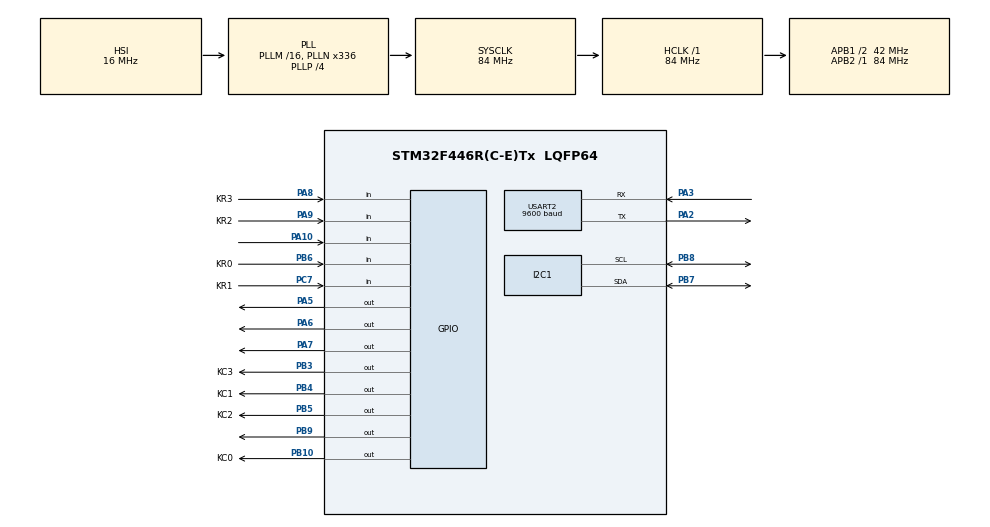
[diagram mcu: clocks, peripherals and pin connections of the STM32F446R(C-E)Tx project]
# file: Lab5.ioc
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FREERTOS.Tasks01=defaultTask,24,128,StartDefaultTask,Default,NULL,Dynamic,NULL,NULL;ReadFromKeyPadT,8,128,ReadFromKeyPadTask,Default,NULL,Dynamic,NULL,NULL;writeToLCDScree,8,128,writeToLCDScreenTask,Default,NULL,Dynamic,NULL,NULL
I2C1.I2C_Mode=I2C_Fast
Mcu.Family=STM32F4
Mcu.Name=STM32F446R(C-E)Tx
Mcu.Package=LQFP64
NVIC.PriorityGroup=NVIC_PRIORITYGROUP_4
NVIC.TIM6_DAC_IRQn=true\:0\:0\:false\:false\:true\:false\:false\:true\:true
NVIC.TimeBase=TIM6_DAC_IRQn
NVIC.TimeBaseIP=TIM6
PA10.Signal=GPIO_Input
PA13.Mode=Serial_Wire
PA13.Signal=SYS_JTMS-SWDIO
PA14.Mode=Serial_Wire
PA14.Signal=SYS_JTCK-SWCLK
PA2.Mode=Asynchronous
PA2.Signal=USART2_TX
PA3.Mode=Asynchronous
PA3.Signal=USART2_RX
PA5.Signal=GPIO_Output
PA6.Signal=GPIO_Output
PA7.Signal=GPIO_Output
PA8.GPIO_Label=KR3
PA8.GPIO_PuPd=GPIO_PULLDOWN
PA8.Signal=GPIO_Input
PA9.GPIO_Label=KR2
PA9.GPIO_PuPd=GPIO_PULLDOWN
PA9.Signal=GPIO_Input
PB10.GPIO_Label=KC0
PB10.Signal=GPIO_Output
PB3.GPIO_Label=KC3
PB3.Signal=GPIO_Output
PB4.GPIO_Label=KC1
PB4.Signal=GPIO_Output
PB5.GPIO_Label=KC2
PB5.Signal=GPIO_Output
PB6.GPIO_Label=KR0
PB6.GPIO_PuPd=GPIO_PULLDOWN
PB6.Signal=GPIO_Input
PB7.Mode=I2C
PB7.Signal=I2C1_SDA
PB8.Mode=I2C
PB8.Signal=I2C1_SCL
PB9.Signal=GPIO_Output
PC14-OSC32_IN.Mode=LSE-External-Oscillator
PC14-OSC32_IN.Signal=RCC_OSC32_IN
PC15-OSC32_OUT.Mode=LSE-External-Oscillator
PC15-OSC32_OUT.Signal=RCC_OSC32_OUT
PC7.GPIO_Label=KR1
PC7.GPIO_PuPd=GPIO_PULLDOWN
PC7.Signal=GPIO_Input
PH0-OSC_IN.Mode=HSE-External-Oscillator
PH0-OSC_IN.Signal=RCC_OSC_IN
PH1-OSC_OUT.Mode=HSE-External-Oscillator
PH1-OSC_OUT.Signal=RCC_OSC_OUT
ProjectManager.HeapSize=0x200
ProjectManager.StackSize=0x400
ProjectManager.TargetToolchain=STM32CubeIDE
RCC.48MHZClocksFreq_Value=84000000
RCC.AHBFreq_Value=84000000
RCC.APB1CLKDivider=RCC_HCLK_DIV2
RCC.APB1Freq_Value=42000000
RCC.APB1TimFreq_Value=84000000
RCC.APB2Freq_Value=84000000
RCC.APB2TimFreq_Value=84000000
RCC.CortexFreq_Value=84000000
RCC.FLatency-AdvancedSettings=FLASH_LATENCY_2
RCC.HCLKFreq_Value=84000000
RCC.HSE_VALUE=8000000
RCC.HSI_VALUE=16000000
RCC.PLLN=336
RCC.PLLP=RCC_PLLP_DIV4
RCC.SYSCLKFreq_VALUE=84000000
RCC.SYSCLKSource=RCC_SYSCLKSOURCE_PLLCLK
RCC.USBFreq_Value=168000000
RCC.VCOOutputFreq_Value=336000000
USART2.BaudRate=9600
USART2.VirtualMode=VM_ASYNC
VP_FREERTOS_VS_CMSIS_V2.Mode=CMSIS_V2
VP_SYS_VS_tim6.Mode=TIM6
board=NUCLEO-F446RE

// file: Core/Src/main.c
/* USER CODE BEGIN Header */
/**
  ******************************************************************************
  * @file           : main.c
  * @brief          : Main program body
  ******************************************************************************
  * @attention
  *
  * Copyright (c) 2024 STMicroelectronics.
  * All rights reserved.
  *
  * This software is licensed under terms that can be found in the LICENSE file
  * in the root directory of this software component.
  * If no LICENSE file comes with this software, it is provided AS-IS.
  *
  ******************************************************************************
  */
/* USER CODE END Header */
#include "main.h"
#include "cmsis_os.h"

/* USER CODE BEGIN Includes */
#include "Keypad4X4.h"
#include <stdio.h>
#include <string.h>
#include <stdlib.h>
#include "fonts.h"
#include "ssd1306.h"

/* USER CODE END Includes */

I2C_HandleTypeDef hi2c1;

UART_HandleTypeDef huart2;

/* Definitions for LCDTask */
osThreadId_t LCDTaskHandle;
const osThreadAttr_t LCDTask_attributes = {
  .name = "LCDTask",
  .stack_size = 128 * 4,
  .priority = (osPriority_t) osPriorityNormal,
};
/* Definitions for KeypadTask */
osThreadId_t KeypadTaskHandle;
const osThreadAttr_t KeypadTask_attributes = {
  .name = "KeypadTask",
  .stack_size = 128 * 4,
  .priority = (osPriority_t) osPriorityLow,
};
/* Definitions for PIRTask */
osThreadId_t PIRTaskHandle;
const osThreadAttr_t PIRTask_attributes = {
  .name = "PIRTask",
  .stack_size = 128 * 4,
  .priority = (osPriority_t) osPriorityNormal,
};
/* Definitions for lightsTask */
osThreadId_t lightsTaskHandle;
const osThreadAttr_t lightsTask_attributes = {
  .name = "lightsTask",
  .stack_size = 128 * 4,
  .priority = (osPriority_t) osPriorityLow,
};
/* Definitions for OLEDSemaphore */
osSemaphoreId_t OLEDSemaphoreHandle;
const osSemaphoreAttr_t OLEDSemaphore_attributes = {
  .name = "OLEDSemaphore"
};
/* USER CODE BEGIN PV */
char hold[4];
/* USER CODE END PV */

void SystemClock_Config(void);
static void MX_GPIO_Init(void);
static void MX_USART2_UART_Init(void);
static void MX_I2C1_Init(void);
void StartLCDTask(void *argument);
void StartkeypadTask(void *argument);
void StartPIRTask(void *argument);
void StartlightsTask(void *argument);

/* USER CODE BEGIN 0 */
#define MAX_CODE_SIZE 6

extern char key;

char typedCode[MAX_CODE_SIZE]; //will be used to store current code being typed by user
int typedCodeIndex = 0;
char passcode[] = "000000"; //will be used to store the confirmed code

int alarmState = 0; //where 0 is disarmed, and 1 is armed

int LCDUpdateFlag = 1;
int LightsUpdateFlag = 1;
int sixtySecondsPassed = 0;
int alarmBuzzing = 0;
int counter = 60;
int isResetted = 0;
char snum[3];
int initialCoolDown = 1;
int motionDetected = 0;

void appendTypedCode(char c){
	if(typedCodeIndex < MAX_CODE_SIZE){
		typedCode[typedCodeIndex] = c;
		typedCodeIndex++;
	}else{
		//clearing typedCode variable
		memset(typedCode, 0, MAX_CODE_SIZE);
		typedCodeIndex = 0;
	}
}

/* USER CODE END 0 */

int main(void)
{

  /* MCU Configuration--------------------------------------------------------*/

  /* Reset of all peripherals, Initializes the Flash interface and the Systick. */
  HAL_Init();

  /* Configure the system clock */
  SystemClock_Config();

  /* Initialize all configured peripherals */
  MX_GPIO_Init();
  MX_USART2_UART_Init();
  MX_I2C1_Init();
  /* USER CODE BEGIN 2 */
  /* USER CODE BEGIN 2 */
    SSD1306_Init();
//    SSD1306_GotoXY (0,0);
//    //SSD1306_Puts ("Voltage:", &Font_11x18, 1);
//    SSD1306_Puts ("Enter Code:", &Font_11x18, 1);
//    SSD1306_GotoXY (0, 30);
//    SSD1306_UpdateScreen();
//    SSD1306_UpdateScreen();
//    HAL_Delay (500);

  /* USER CODE END 2 */

  /* Init scheduler */
  osKernelInitialize();

  /* Create the semaphores(s) */
  /* creation of OLEDSemaphore */
  OLEDSemaphoreHandle = osSemaphoreNew(1, 0, &OLEDSemaphore_attributes);

  /* Create the thread(s) */
  /* creation of LCDTask */
  LCDTaskHandle = osThreadNew(StartLCDTask, NULL, &LCDTask_attributes);

  /* creation of KeypadTask */
  KeypadTaskHandle = osThreadNew(StartkeypadTask, NULL, &KeypadTask_attributes);

  /* creation of PIRTask */
  PIRTaskHandle = osThreadNew(StartPIRTask, NULL, &PIRTask_attributes);

  /* creation of lightsTask */
  lightsTaskHandle = osThreadNew(StartlightsTask, NULL, &lightsTask_attributes);

  /* Start scheduler */
  osKernelStart();

  /* We should never get here as control is now taken by the scheduler */
  /* Infinite loop */
  while (1)
  {

    /* USER CODE BEGIN 3 */
	/* D10 to D7 as input pins for row 0 to row 3. D6 to D3 as output for column pins C1 to C3*/
//	  key = Get_Key();
//	  sprintf(hold, "%c", key);
//	  HAL_UART_Transmit(&huart2, (uint8_t *)hold, strlen(hold), 100);
//	  SSD1306_GotoXY (0, 30);
//	  SSD1306_UpdateScreen();
//	  SSD1306_Puts (hold, &Font_11x18, 1);
//	  SSD1306_UpdateScreen();
//	  HAL_Delay (500);
  }
  /* USER CODE END 3 */
}

void SystemClock_Config(void)
{
  RCC_OscInitTypeDef RCC_OscInitStruct = {0};
  RCC_ClkInitTypeDef RCC_ClkInitStruct = {0};

  /** Configure the main internal regulator output voltage
  */
  __HAL_RCC_PWR_CLK_ENABLE();
  __HAL_PWR_VOLTAGESCALING_CONFIG(PWR_REGULATOR_VOLTAGE_SCALE3);

  /** Initializes the RCC Oscillators according to the specified parameters
  * in the RCC_OscInitTypeDef structure.
  */
  RCC_OscInitStruct.OscillatorType = RCC_OSCILLATORTYPE_HSI;
  RCC_OscInitStruct.HSIState = RCC_HSI_ON;
  RCC_OscInitStruct.HSICalibrationValue = RCC_HSICALIBRATION_DEFAULT;
  RCC_OscInitStruct.PLL.PLLState = RCC_PLL_ON;
  RCC_OscInitStruct.PLL.PLLSource = RCC_PLLSOURCE_HSI;
  RCC_OscInitStruct.PLL.PLLM = 16;
  RCC_OscInitStruct.PLL.PLLN = 336;
  RCC_OscInitStruct.PLL.PLLP = RCC_PLLP_DIV4;
  RCC_OscInitStruct.PLL.PLLQ = 2;
  RCC_OscInitStruct.PLL.PLLR = 2;
  if (HAL_RCC_OscConfig(&RCC_OscInitStruct) != HAL_OK)
  {
    Error_Handler();
  }

  /** Initializes the CPU, AHB and APB buses clocks
  */
  RCC_ClkInitStruct.ClockType = RCC_CLOCKTYPE_HCLK|RCC_CLOCKTYPE_SYSCLK
                              |RCC_CLOCKTYPE_PCLK1|RCC_CLOCKTYPE_PCLK2;
  RCC_ClkInitStruct.SYSCLKSource = RCC_SYSCLKSOURCE_PLLCLK;
  RCC_ClkInitStruct.AHBCLKDivider = RCC_SYSCLK_DIV1;
  RCC_ClkInitStruct.APB1CLKDivider = RCC_HCLK_DIV2;
  RCC_ClkInitStruct.APB2CLKDivider = RCC_HCLK_DIV1;

  if (HAL_RCC_ClockConfig(&RCC_ClkInitStruct, FLASH_LATENCY_2) != HAL_OK)
  {
    Error_Handler();
  }
}

static void MX_I2C1_Init(void)
{

  hi2c1.Instance = I2C1;
  hi2c1.Init.ClockSpeed = 400000;
  hi2c1.Init.DutyCycle = I2C_DUTYCYCLE_2;
  hi2c1.Init.OwnAddress1 = 0;
  hi2c1.Init.AddressingMode = I2C_ADDRESSINGMODE_7BIT;
  hi2c1.Init.DualAddressMode = I2C_DUALADDRESS_DISABLE;
  hi2c1.Init.OwnAddress2 = 0;
  hi2c1.Init.GeneralCallMode = I2C_GENERALCALL_DISABLE;
  hi2c1.Init.NoStretchMode = I2C_NOSTRETCH_DISABLE;
  if (HAL_I2C_Init(&hi2c1) != HAL_OK)
  {
    Error_Handler();
  }

}

static void MX_USART2_UART_Init(void)
{

  huart2.Instance = USART2;
  huart2.Init.BaudRate = 9600;
  huart2.Init.WordLength = UART_WORDLENGTH_8B;
  huart2.Init.StopBits = UART_STOPBITS_1;
  huart2.Init.Parity = UART_PARITY_NONE;
  huart2.Init.Mode = UART_MODE_TX_RX;
  huart2.Init.HwFlowCtl = UART_HWCONTROL_NONE;
  huart2.Init.OverSampling = UART_OVERSAMPLING_16;
  if (HAL_UART_Init(&huart2) != HAL_OK)
  {
    Error_Handler();
  }

}

static void MX_GPIO_Init(void)
{
  GPIO_InitTypeDef GPIO_InitStruct = {0};

  /* GPIO Ports Clock Enable */
  __HAL_RCC_GPIOC_CLK_ENABLE();
  __HAL_RCC_GPIOH_CLK_ENABLE();
  __HAL_RCC_GPIOA_CLK_ENABLE();
  __HAL_RCC_GPIOB_CLK_ENABLE();

  /*Configure GPIO pin Output Level */
  HAL_GPIO_WritePin(GPIOA, GPIO_PIN_5|GPIO_PIN_6|GPIO_PIN_7, GPIO_PIN_RESET);

  /*Configure GPIO pin Output Level */
  HAL_GPIO_WritePin(GPIOB, KC0_Pin|KC3_Pin|KC1_Pin|KC2_Pin, GPIO_PIN_RESET);

  /*Configure GPIO pins : PA5 PA6 PA7 */
  GPIO_InitStruct.Pin = GPIO_PIN_5|GPIO_PIN_6|GPIO_PIN_7;
  GPIO_InitStruct.Mode = GPIO_MODE_OUTPUT_PP;
  GPIO_InitStruct.Pull = GPIO_NOPULL;
  GPIO_InitStruct.Speed = GPIO_SPEED_FREQ_LOW;
  HAL_GPIO_Init(GPIOA, &GPIO_InitStruct);

  /*Configure GPIO pins : KC0_Pin KC3_Pin KC1_Pin KC2_Pin */
  GPIO_InitStruct.Pin = KC0_Pin|KC3_Pin|KC1_Pin|KC2_Pin;
  GPIO_InitStruct.Mode = GPIO_MODE_OUTPUT_PP;
  GPIO_InitStruct.Pull = GPIO_NOPULL;
  GPIO_InitStruct.Speed = GPIO_SPEED_FREQ_LOW;
  HAL_GPIO_Init(GPIOB, &GPIO_InitStruct);

  /*Configure GPIO pin : KR1_Pin */
  GPIO_InitStruct.Pin = KR1_Pin;
  GPIO_InitStruct.Mode = GPIO_MODE_INPUT;
  GPIO_InitStruct.Pull = GPIO_PULLDOWN;
  HAL_GPIO_Init(KR1_GPIO_Port, &GPIO_InitStruct);

  /*Configure GPIO pins : KR3_Pin KR2_Pin */
  GPIO_InitStruct.Pin = KR3_Pin|KR2_Pin;
  GPIO_InitStruct.Mode = GPIO_MODE_INPUT;
  GPIO_InitStruct.Pull = GPIO_PULLDOWN;
  HAL_GPIO_Init(GPIOA, &GPIO_InitStruct);

  /*Configure GPIO pin : PA10 */
  GPIO_InitStruct.Pin = GPIO_PIN_10;
  GPIO_InitStruct.Mode = GPIO_MODE_INPUT;
  GPIO_InitStruct.Pull = GPIO_NOPULL;
  HAL_GPIO_Init(GPIOA, &GPIO_InitStruct);

  /*Configure GPIO pin : KR0_Pin */
  GPIO_InitStruct.Pin = KR0_Pin;
  GPIO_InitStruct.Mode = GPIO_MODE_INPUT;
  GPIO_InitStruct.Pull = GPIO_PULLDOWN;
  HAL_GPIO_Init(KR0_GPIO_Port, &GPIO_InitStruct);

}

void StartkeypadTask(void *argument)
{
  /* USER CODE BEGIN StartkeypadTask */
  /* Infinite loop */
  for(;;)
  {
	key = Get_Key();

//	actionCode = '\0';
	if(key == '#'){
//		actionCode = key;
		if(typedCodeIndex == 4 || typedCodeIndex == 5 || typedCodeIndex == 6){
			if(alarmState == 1){
				if(strcmp(passcode, typedCode) == 0){
					alarmState = 0;
					initialCoolDown = 1;
					motionDetected = 0;
					counter = 60;

					//clearing typed code
					memset(typedCode, 0, MAX_CODE_SIZE);
					typedCodeIndex = 0;
				} else{
//					char errMsg[25];
//					snprintf(errMsg, sizeof(errMsg), "[AUTH] - REQ: %s\n", passcode);
//					snprintf(errMsg, sizeof(errMsg), "[AUTH] - GOT: %s\n", typedCode);
					//clearing typed code
					memset(typedCode, 0, MAX_CODE_SIZE);
					typedCodeIndex = 0;
				}
			}
			else if(alarmState == 0){
				strcpy(passcode, typedCode);
				alarmState = 1;

				//clearing typed code
				memset(typedCode, 0, MAX_CODE_SIZE);
				typedCodeIndex = 0;
			}
		} else{ //invalid code length
			//clearing typed code
			memset(typedCode, 0, MAX_CODE_SIZE);
			typedCodeIndex = 0;
		}
	}else if (key != '*'){ //'*' is not alphanumeric
		appendTypedCode(key); //character is not '#', i.e. new char in typedCode

	}
	LCDUpdateFlag = 1;
	LightsUpdateFlag = 1;

	HAL_Delay(100);
    osDelay(1);
  }
  /* USER CODE END StartkeypadTask */
}

void StartLCDTask(void *argument)
{
  /* USER CODE BEGIN StartLCDTask */
  /* Infinite loop */
  for(;;)
  {
	  if(LCDUpdateFlag == 1){
		  SSD1306_Clear();
		  SSD1306_UpdateScreen();

		  SSD1306_GotoXY(0,0);

		  sprintf(snum, "%d", counter);

		  if(alarmBuzzing == 1){
			  SSD1306_Puts("DANGER", &Font_11x18,1);
		  }
		  else{
			  if ((alarmState == 1 && initialCoolDown == 1) || (alarmState == 1 && initialCoolDown == 0 && motionDetected == 1)) {
				  SSD1306_Puts("Armed:", &Font_11x18,1);
				  SSD1306_Puts(snum, &Font_11x18, 1);
			  }

			  else if(alarmState == 1 && initialCoolDown == 0 && motionDetected == 0){
				  SSD1306_Puts("Armed", &Font_11x18,1);
			  }
			  else if(alarmState == 0){
				  SSD1306_Puts("Disarmed",&Font_11x18,1);

			  }

			  SSD1306_GotoXY (0, 30);
			  SSD1306_Puts("Code:",&Font_11x18, 1);

			  //This null terminator is necessary for string-handling functions to know where the string ends.
			  char starsToDisplay[MAX_CODE_SIZE+1];
			  for(int i = 0; i < typedCodeIndex; i++){
				  starsToDisplay[i] = '*';
			  }
			  starsToDisplay[typedCodeIndex] = '\0';

			  SSD1306_Puts(starsToDisplay, &Font_11x18, 1);

		  }
		  SSD1306_UpdateScreen();
		  LCDUpdateFlag = 0;

	}
    osDelay(1);
  }
  /* USER CODE END StartLCDTask */
}

void StartlightsTask(void *argument)
{
  /* USER CODE BEGIN StartlightsTask */
  /* Infinite loop */
  for(;;)
  {
	if(LightsUpdateFlag == 1){
		if(alarmState == 1){ //armed, red light should be on
			HAL_GPIO_WritePin(GPIOA, GPIO_PIN_5, RESET); //turn off green LED
			HAL_GPIO_WritePin(GPIOA, GPIO_PIN_6, SET);  //turn on red LED
		}else if(alarmState == 0){ //disarmed, green light should be on
			HAL_GPIO_WritePin(GPIOA, GPIO_PIN_5, SET);  //turn on green LED
			HAL_GPIO_WritePin(GPIOA, GPIO_PIN_6, RESET); //turn off red LED
		}
		LightsUpdateFlag = 0;
	}
    osDelay(1);
  }
  /* USER CODE END StartlightsTask */
}
void StartPIRTask(void *argument){
	for(;;){

		if(alarmState == 1){

			if (initialCoolDown == 1) {
				motionDetected = 0;
				counter = counter-1;
				if(counter <= 0){
					HAL_GPIO_WritePin(GPIOA, GPIO_PIN_7, GPIO_PIN_SET);
					osDelay(2000);
					HAL_GPIO_WritePin(GPIOA, GPIO_PIN_7, GPIO_PIN_RESET);
					initialCoolDown = 0;
				}
				osDelay(1000);
				LCDUpdateFlag = 1;
			}

			else if(HAL_GPIO_ReadPin(GPIOA, GPIO_PIN_10) == GPIO_PIN_SET && initialCoolDown == 0 && motionDetected == 0){
				motionDetected = 1;
				counter = 60;

			}
			else if(motionDetected == 1){
				LCDUpdateFlag = 1;
				counter = counter-1;
				if(counter <= 0){
					HAL_GPIO_WritePin(GPIOA, GPIO_PIN_7, GPIO_PIN_SET);
					alarmBuzzing = 1;
				}
				osDelay(1000);
				LCDUpdateFlag = 1;

			}

		}
		osDelay(1);

	}
}

void HAL_TIM_PeriodElapsedCallback(TIM_HandleTypeDef *htim)
{
  if (htim->Instance == TIM6) {
    HAL_IncTick();
  }
}

void Error_Handler(void)
{
  __disable_irq();
  while (1)
  {
  }
}
